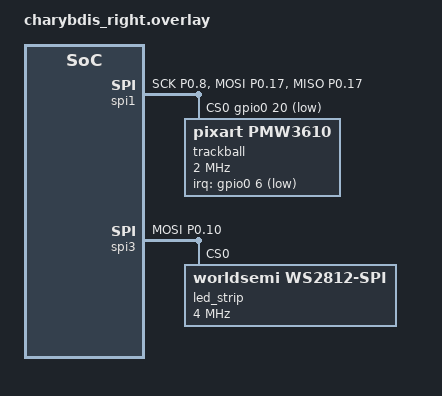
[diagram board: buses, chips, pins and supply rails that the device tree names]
/*
 * Copyright (c) 2020 ZMK Contributors
 *
 * SPDX-License-Identifier: MIT
 */
 
#include "charybdis.dtsi"
#include <zephyr/dt-bindings/input/input-event-codes.h>

&default_transform {
    col-offset = <6>;
}; 

&kscan0 {
	col-gpios
		= <&gpio0 2 (GPIO_ACTIVE_HIGH | GPIO_PULL_DOWN)>
		, <&gpio0 29 (GPIO_ACTIVE_HIGH | GPIO_PULL_DOWN)>
		, <&gpio0 9 (GPIO_ACTIVE_HIGH | GPIO_PULL_DOWN)>
		, <&gpio1 0  (GPIO_ACTIVE_HIGH | GPIO_PULL_DOWN)>
		, <&gpio0 11 (GPIO_ACTIVE_HIGH | GPIO_PULL_DOWN)>
		, <&gpio1 4  (GPIO_ACTIVE_HIGH | GPIO_PULL_DOWN)>
		;
};
&pinctrl {
    spi1_default: spi1_default {
        group1 {
            psels = <NRF_PSEL(SPIM_SCK, 0, 8)>,
                    <NRF_PSEL(SPIM_MOSI, 0, 17)>,
                    <NRF_PSEL(SPIM_MISO, 0, 17)>;  // 3线 SPI，MISO 与 MOSI 共用
        };
    };
    spi1_sleep: spi1_sleep {
        group1 {
            psels = <NRF_PSEL(SPIM_SCK, 0, 8)>,
                    <NRF_PSEL(SPIM_MOSI, 0, 17)>,
                    <NRF_PSEL(SPIM_MISO, 0, 17)>;
            low-power-enable;
        };
    };
};

&spi1 {
    status = "okay";
    compatible = "nordic,nrf-spim";
    pinctrl-0 = <&spi1_default>;
    pinctrl-1 = <&spi1_sleep>;
    pinctrl-names = "default", "sleep";
    cs-gpios = <&gpio0 20 GPIO_ACTIVE_LOW>;

    trackball: trackball@0 {
        compatible = "pixart,pmw3610";   // 旧版字符串，不加 -alt
        reg = <0>;
        spi-max-frequency = <2000000>;
        irq-gpios = <&gpio0 6 (GPIO_ACTIVE_LOW | GPIO_PULL_UP)>;

        /* 方向配置（旧版使用设备树属性） */
        // swap-xy;
        // invert-x;
        // invert-y;

        /* CPI 在设备树中设置 */
        cpi = <800>;
    };
};


//RGB bus
&pinctrl {
    spi3_default: spi3_default {
        group1 {
            psels = <NRF_PSEL(SPIM_MOSI, 0, 10)>;
        };
    };

    spi3_sleep: spi3_sleep {
        group1 {
            psels = <NRF_PSEL(SPIM_MOSI, 0, 10)>;
            low-power-enable;
        };
    };
};

&spi3 {
    compatible = "nordic,nrf-spim";
    status = "okay";

    pinctrl-0 = <&spi3_default>;
    pinctrl-1 = <&spi3_sleep>;
    pinctrl-names = "default", "sleep";

    led_strip: ws2812@0 {
        compatible = "worldsemi,ws2812-spi";

        /* SPI */
        reg = <0>; /* ignored, but necessary for SPI bindings */
        spi-max-frequency = <4000000>;

        /* WS2812 */
        chain-length = <27>; /* number of LEDs */
        spi-one-frame = <0x70>;
        spi-zero-frame = <0x40>;
        color-mapping = <LED_COLOR_ID_GREEN
                         LED_COLOR_ID_RED
                         LED_COLOR_ID_BLUE>;
    };
};



/ {
    trackball_listener {
        compatible = "zmk,input-listener";
        device = <&trackball>;
    };
};


